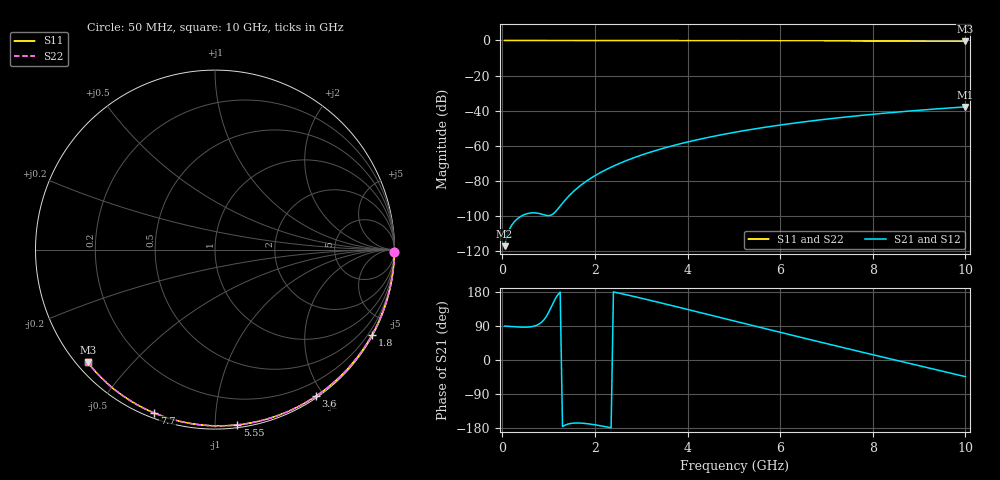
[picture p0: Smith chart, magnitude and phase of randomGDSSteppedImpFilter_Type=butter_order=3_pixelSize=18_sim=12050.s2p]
! freq	dB(S11)	phase(S11)	dB(S12)	phase(S12)
!  dB(S21)	phase(S21)	dB(S22)	phase(S22)
!S-par simulation data
#  GHz  S  DB  R 50
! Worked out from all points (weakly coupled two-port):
!   200 points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, 50 MHz to 10 GHz, reference 50 ohm
!   highest |S21| = -37.90 dB at 10 GHz (marker M1); lowest = -117.4 dB at 50 MHz (marker M2)
!   lowest |S11| = -0.5 dB at 10 GHz (marker M3), VSWR 36.93, Z = 1.55 - j19 ohm
!   |S11| at or under -10 dB: nowhere
!   |S22| runs from -0.5 to 0.0 dB; largest |S21 - S12| = 0
!   S11 on the Smith chart (normalised r, x): 50 MHz: open; 1.8 GHz: 0.03, -3.95; 3.6 GHz: 0.02, -1.90; 5.55 GHz: 0.02, -1.14; 7.7 GHz: 0.02, -0.69; 10 GHz: 0.03, -0.38
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0.05  -0.00 -0.8  -117.37 89.6  -117.37 89.6  -0.00 -0.8
0.45  -0.01 -7.2  -99.64 86.6  -99.64 86.6  -0.01 -7.2
0.9  -0.02 -14.3  -99.46 106.2  -99.46 106.2  -0.02 -14.3
1.75  -0.04 -27.6  -81.52 -167.0  -81.52 -167.0  -0.04 -27.6
1.8  -0.04 -28.4  -80.57 -167.6  -80.57 -167.6  -0.04 -28.4
1.85  -0.04 -29.2  -79.66 -168.3  -79.66 -168.3  -0.04 -29.2
2.05  -0.04 -32.2  -76.39 -172.0  -76.39 -172.0  -0.04 -32.2
2.25  -0.05 -35.3  -73.56 -176.5  -73.56 -176.5  -0.05 -35.3
2.55  -0.05 -39.9  -69.93 175.8  -69.93 175.8  -0.05 -39.9
2.95  -0.06 -45.9  -65.88 164.6  -65.88 164.6  -0.06 -45.9
3.4  -0.07 -52.5  -62.10 151.4  -62.10 151.4  -0.07 -52.5
3.6  -0.07 -55.5  -60.61 145.5  -60.61 145.5  -0.07 -55.5
3.9  -0.08 -59.8  -58.57 136.5  -58.57 136.5  -0.08 -59.8
4.3  -0.09 -65.5  -56.13 124.4  -56.13 124.4  -0.09 -65.5
5.05  -0.12 -76.0  -52.24 101.7  -52.24 101.7  -0.12 -75.9
5.55  -0.14 -82.7  -50.03 86.6  -50.03 86.6  -0.14 -82.7
6.1  -0.16 -90.0  -47.89 70.1  -47.89 70.1  -0.16 -90.0
6.7  -0.19 -97.8  -45.82 52.2  -45.82 52.2  -0.19 -97.8
7.7  -0.25 -110.4  -42.90 22.7  -42.90 22.7  -0.25 -110.4
8.35  -0.30 -118.5  -41.27 3.8  -41.27 3.8  -0.30 -118.4
9.2  -0.38 -128.8  -39.41 -20.8  -39.41 -20.8  -0.38 -128.8
10  -0.47 -138.4  -37.90 -43.9  -37.90 -43.9  -0.47 -138.4
